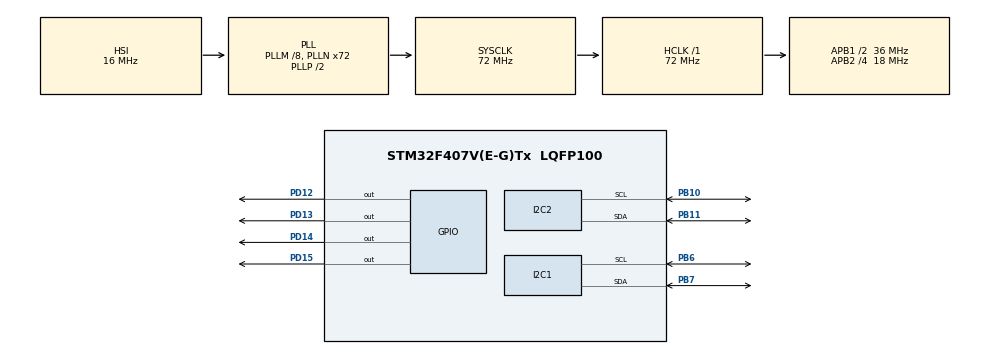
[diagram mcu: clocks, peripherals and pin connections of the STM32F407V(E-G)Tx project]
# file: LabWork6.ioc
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I2C1.OwnAddress=0xfa
I2C2.GeneralCallMode=I2C_GENERALCALL_DISABLE
I2C2.OwnAddress=0xfa
Mcu.Family=STM32F4
Mcu.Name=STM32F407V(E-G)Tx
Mcu.Package=LQFP100
NVIC.I2C1_ER_IRQn=true\:0\:0\:false\:true\:true\:2\:true\:true\:true
NVIC.I2C1_EV_IRQn=true\:0\:0\:false\:true\:true\:1\:true\:true\:true
NVIC.I2C2_ER_IRQn=true\:0\:0\:false\:true\:true\:4\:true\:true\:true
NVIC.I2C2_EV_IRQn=true\:0\:0\:false\:true\:true\:3\:true\:true\:true
NVIC.PriorityGroup=NVIC_PRIORITYGROUP_0
PA13.Mode=Trace_Asynchronous_SW
PA13.Signal=SYS_JTMS-SWDIO
PA14.Mode=Trace_Asynchronous_SW
PA14.Signal=SYS_JTCK-SWCLK
PB10.GPIO_Pu=GPIO_PULLUP
PB10.Mode=I2C
PB10.Signal=I2C2_SCL
PB11.GPIO_Pu=GPIO_PULLUP
PB11.Mode=I2C
PB11.Signal=I2C2_SDA
PB3.Mode=Trace_Asynchronous_SW
PB3.Signal=SYS_JTDO-SWO
PB6.GPIO_Pu=GPIO_PULLUP
PB6.Mode=I2C
PB6.Signal=I2C1_SCL
PB7.GPIO_Pu=GPIO_PULLUP
PB7.Mode=I2C
PB7.Signal=I2C1_SDA
PD12.Signal=GPIO_Output
PD13.Signal=GPIO_Output
PD14.Signal=GPIO_Output
PD15.Signal=GPIO_Output
ProjectManager.HeapSize=0x200
ProjectManager.StackSize=0x400
ProjectManager.TargetToolchain=STM32CubeIDE
RCC.48MHZClocksFreq_Value=20571428.57142857
RCC.AHBFreq_Value=72000000
RCC.APB1CLKDivider=RCC_HCLK_DIV2
RCC.APB1Freq_Value=36000000
RCC.APB1TimFreq_Value=72000000
RCC.APB2CLKDivider=RCC_HCLK_DIV4
RCC.APB2Freq_Value=18000000
RCC.APB2TimFreq_Value=36000000
RCC.CortexFreq_Value=72000000
RCC.HCLKFreq_Value=72000000
RCC.HSE_VALUE=8000000
RCC.HSI_VALUE=16000000
RCC.LSE_VALUE=32768
RCC.PLLM=8
RCC.PLLN=72
RCC.PLLQ=7
RCC.SYSCLKFreq_VALUE=72000000
RCC.SYSCLKSource=RCC_SYSCLKSOURCE_PLLCLK
RCC.VCOOutputFreq_Value=144000000
board=STM32F407G-DISC1

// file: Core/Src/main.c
/* USER CODE BEGIN Header */
/**
  ****************************************************************************
  * @file           : main.c
  * @brief          : Main program body
  ****************************************************************************
  * @attention
  *
  * Copyright (c) 2024 STMicroelectronics.
  * All rights reserved.
  *
  * This software is licensed under terms that can be found in the LICENSE file
  * in the root directory of this software component.
  * If no LICENSE file comes with this software, it is provided AS-IS.
  *
  ****************************************************************************
  */
/* USER CODE END Header */
#include "main.h"

I2C_HandleTypeDef hi2c1;
I2C_HandleTypeDef hi2c2;

/* USER CODE BEGIN PV */
uint8_t rxData;
int uzdNr = 2;
uint8_t rxBuffer[3];
/* USER CODE END PV */

void SystemClock_Config(void);
static void MX_GPIO_Init(void);
static void MX_I2C1_Init(void);
static void MX_I2C2_Init(void);
static void MX_NVIC_Init(void);

int main(void)
{

  /* MCU Configuration--------------------------------------------------------*/

  /* Reset of all peripherals, Initializes the Flash interface and the Systick. */
  HAL_Init();

  /* Configure the system clock */
  SystemClock_Config();

  /* Initialize all configured peripherals */
  MX_GPIO_Init();
  MX_I2C1_Init();
  MX_I2C2_Init();

  /* Initialize interrupts */
  MX_NVIC_Init();

  /* Infinite loop */
  /* USER CODE BEGIN WHILE */
  while (1) {
	  rxData=0;
	  if(uzdNr == 1){
		  if(HAL_I2C_Slave_Receive(&hi2c2, &rxData, 1, 10) == HAL_OK) {
			  if (rxData==1)
			  {

				  HAL_GPIO_WritePin(GPIOD, GPIO_PIN_12, GPIO_PIN_SET);
				  HAL_GPIO_WritePin(GPIOD, GPIO_PIN_15, GPIO_PIN_RESET);
				  HAL_GPIO_WritePin(GPIOD, GPIO_PIN_14, GPIO_PIN_RESET);
				  HAL_Delay(250);

			  }else
			  {
				  HAL_GPIO_WritePin(GPIOD, GPIO_PIN_15, GPIO_PIN_SET);
				  HAL_GPIO_WritePin(GPIOD, GPIO_PIN_12, GPIO_PIN_RESET);
				  HAL_GPIO_WritePin(GPIOD, GPIO_PIN_14, GPIO_PIN_RESET);

			  }

			}else
			{
				  HAL_GPIO_WritePin(GPIOD, GPIO_PIN_14, GPIO_PIN_SET);
				  HAL_GPIO_WritePin(GPIOD, GPIO_PIN_12, GPIO_PIN_RESET);
				  HAL_GPIO_WritePin(GPIOD, GPIO_PIN_15, GPIO_PIN_RESET);

			}

	  }else if(uzdNr == 2){
		  if(HAL_I2C_Slave_Receive(&hi2c1, rxBuffer, 3, 10) == HAL_OK) {
		      HAL_GPIO_WritePin(GPIOD, GPIO_PIN_12, (rxBuffer[0] & 0x01) ? GPIO_PIN_SET : GPIO_PIN_RESET);
		      HAL_GPIO_WritePin(GPIOD, GPIO_PIN_13, (rxBuffer[0] & 0x02) ? GPIO_PIN_SET : GPIO_PIN_RESET);

		      HAL_GPIO_WritePin(GPIOD, GPIO_PIN_14, (rxBuffer[1] & 0x01) ? GPIO_PIN_SET : GPIO_PIN_RESET);

		      HAL_GPIO_WritePin(GPIOD, GPIO_PIN_15, (rxBuffer[2] & 0x01) ? GPIO_PIN_SET : GPIO_PIN_RESET);
		  }

	  }
    /* USER CODE END WHILE */

    /* USER CODE BEGIN 3 */
	  //HAL_Delay(1000);
  }
  /* USER CODE END 3 */
}

void SystemClock_Config(void)
{
  RCC_OscInitTypeDef RCC_OscInitStruct = {0};
  RCC_ClkInitTypeDef RCC_ClkInitStruct = {0};

  /** Configure the main internal regulator output voltage
  */
  __HAL_RCC_PWR_CLK_ENABLE();
  __HAL_PWR_VOLTAGESCALING_CONFIG(PWR_REGULATOR_VOLTAGE_SCALE1);

  /** Initializes the RCC Oscillators according to the specified parameters
  * in the RCC_OscInitTypeDef structure.
  */
  RCC_OscInitStruct.OscillatorType = RCC_OSCILLATORTYPE_HSI;
  RCC_OscInitStruct.HSIState = RCC_HSI_ON;
  RCC_OscInitStruct.HSICalibrationValue = RCC_HSICALIBRATION_DEFAULT;
  RCC_OscInitStruct.PLL.PLLState = RCC_PLL_ON;
  RCC_OscInitStruct.PLL.PLLSource = RCC_PLLSOURCE_HSI;
  RCC_OscInitStruct.PLL.PLLM = 8;
  RCC_OscInitStruct.PLL.PLLN = 72;
  RCC_OscInitStruct.PLL.PLLP = RCC_PLLP_DIV2;
  RCC_OscInitStruct.PLL.PLLQ = 7;
  if (HAL_RCC_OscConfig(&RCC_OscInitStruct) != HAL_OK)
  {
    Error_Handler();
  }

  /** Initializes the CPU, AHB and APB buses clocks
  */
  RCC_ClkInitStruct.ClockType = RCC_CLOCKTYPE_HCLK|RCC_CLOCKTYPE_SYSCLK
                              |RCC_CLOCKTYPE_PCLK1|RCC_CLOCKTYPE_PCLK2;
  RCC_ClkInitStruct.SYSCLKSource = RCC_SYSCLKSOURCE_PLLCLK;
  RCC_ClkInitStruct.AHBCLKDivider = RCC_SYSCLK_DIV1;
  RCC_ClkInitStruct.APB1CLKDivider = RCC_HCLK_DIV2;
  RCC_ClkInitStruct.APB2CLKDivider = RCC_HCLK_DIV4;

  if (HAL_RCC_ClockConfig(&RCC_ClkInitStruct, FLASH_LATENCY_2) != HAL_OK)
  {
    Error_Handler();
  }
}

/**
  * @brief NVIC Configuration.
  * @retval None
  */
static void MX_NVIC_Init(void)
{
  /* I2C1_EV_IRQn interrupt configuration */
  HAL_NVIC_SetPriority(I2C1_EV_IRQn, 0, 0);
  HAL_NVIC_EnableIRQ(I2C1_EV_IRQn);
  /* I2C1_ER_IRQn interrupt configuration */
  HAL_NVIC_SetPriority(I2C1_ER_IRQn, 0, 0);
  HAL_NVIC_EnableIRQ(I2C1_ER_IRQn);
  /* I2C2_EV_IRQn interrupt configuration */
  HAL_NVIC_SetPriority(I2C2_EV_IRQn, 0, 0);
  HAL_NVIC_EnableIRQ(I2C2_EV_IRQn);
  /* I2C2_ER_IRQn interrupt configuration */
  HAL_NVIC_SetPriority(I2C2_ER_IRQn, 0, 0);
  HAL_NVIC_EnableIRQ(I2C2_ER_IRQn);
}

static void MX_I2C1_Init(void)
{

  hi2c1.Instance = I2C1;
  hi2c1.Init.ClockSpeed = 100000;
  hi2c1.Init.DutyCycle = I2C_DUTYCYCLE_2;
  hi2c1.Init.OwnAddress1 = 0xfa;
  hi2c1.Init.AddressingMode = I2C_ADDRESSINGMODE_7BIT;
  hi2c1.Init.DualAddressMode = I2C_DUALADDRESS_DISABLE;
  hi2c1.Init.OwnAddress2 = 0;
  hi2c1.Init.GeneralCallMode = I2C_GENERALCALL_DISABLE;
  hi2c1.Init.NoStretchMode = I2C_NOSTRETCH_DISABLE;
  if (HAL_I2C_Init(&hi2c1) != HAL_OK)
  {
    Error_Handler();
  }

}

static void MX_I2C2_Init(void)
{

  hi2c2.Instance = I2C2;
  hi2c2.Init.ClockSpeed = 100000;
  hi2c2.Init.DutyCycle = I2C_DUTYCYCLE_2;
  hi2c2.Init.OwnAddress1 = 0xfa;
  hi2c2.Init.AddressingMode = I2C_ADDRESSINGMODE_7BIT;
  hi2c2.Init.DualAddressMode = I2C_DUALADDRESS_DISABLE;
  hi2c2.Init.OwnAddress2 = 0;
  hi2c2.Init.GeneralCallMode = I2C_GENERALCALL_DISABLE;
  hi2c2.Init.NoStretchMode = I2C_NOSTRETCH_DISABLE;
  if (HAL_I2C_Init(&hi2c2) != HAL_OK)
  {
    Error_Handler();
  }

}

static void MX_GPIO_Init(void)
{
  GPIO_InitTypeDef GPIO_InitStruct = {0};

  /* GPIO Ports Clock Enable */
  __HAL_RCC_GPIOB_CLK_ENABLE();
  __HAL_RCC_GPIOD_CLK_ENABLE();
  __HAL_RCC_GPIOA_CLK_ENABLE();

  /*Configure GPIO pin Output Level */
  HAL_GPIO_WritePin(GPIOD, GPIO_PIN_12|GPIO_PIN_13|GPIO_PIN_14|GPIO_PIN_15, GPIO_PIN_RESET);

  /*Configure GPIO pins : PD12 PD13 PD14 PD15 */
  GPIO_InitStruct.Pin = GPIO_PIN_12|GPIO_PIN_13|GPIO_PIN_14|GPIO_PIN_15;
  GPIO_InitStruct.Mode = GPIO_MODE_OUTPUT_PP;
  GPIO_InitStruct.Pull = GPIO_NOPULL;
  GPIO_InitStruct.Speed = GPIO_SPEED_FREQ_LOW;
  HAL_GPIO_Init(GPIOD, &GPIO_InitStruct);

}

void Error_Handler(void)
{
  __disable_irq();
  while (1)
  {
  }
}
